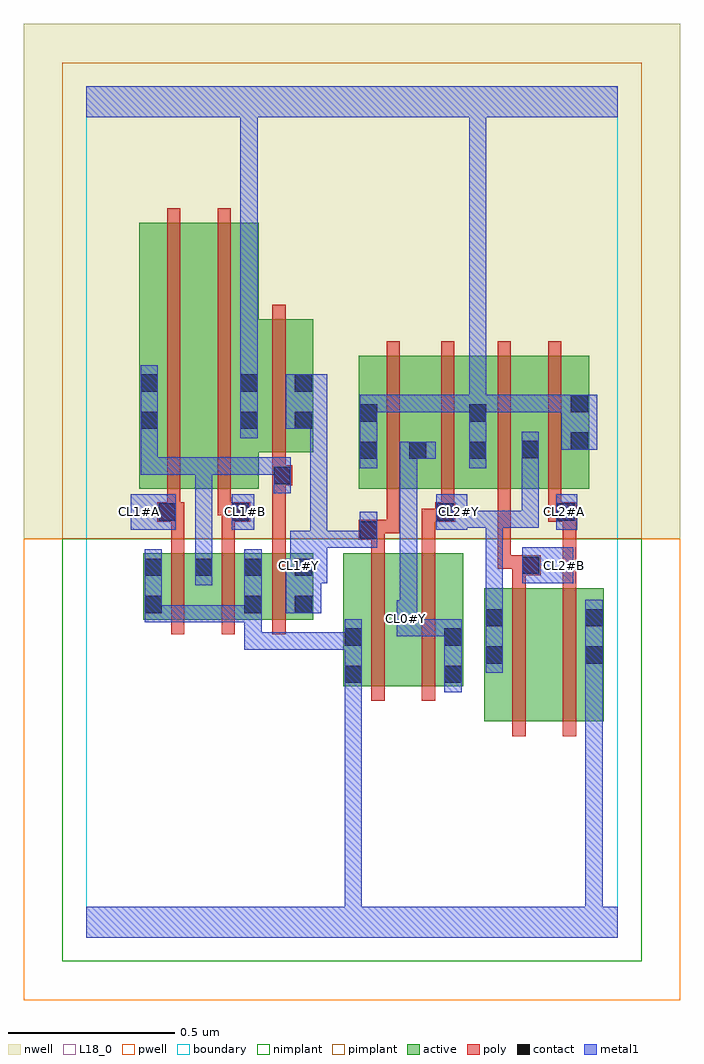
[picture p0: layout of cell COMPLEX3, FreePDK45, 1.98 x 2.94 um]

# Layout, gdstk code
import gdstk
lib = gdstk.Library(unit=1e-6, precision=1e-09)
def R(c, l, rs):  # rectangles x0, y0, x1, y1
    for r in rs: c.add(gdstk.rectangle(r[:2], r[2:], *l))
def A(c, l, x, y, w, h, nx, ny, dx, dy):  # array of equal rectangles
    R(c, l, [(x+i*dx, y+j*dy, x+i*dx+w, y+j*dy+h) for i in range(nx) for j in range(ny)])
active = (1, 0)
pwell = (2, 0)
nwell = (3, 0)
nimplant = (4, 0)
pimplant = (5, 0)
poly = (9, 0)
contact = (10, 0)
metal1 = (11, 0)
L18_0 = (18, 0)
boundary = (235, 0)

complex3 = lib.new_cell('COMPLEX3')
R(complex3, active, [(1.198,0.65,1.378,1.05), (1.378,0.65,1.558,1.05), (1.498,0.65,1.558,1.05), (0.774,0.756,0.834,1.156), (0.774,0.756,0.954,1.156), (0.954,0.756,1.134,1.156), (1.074,0.756,1.134,1.156), (1.198,0.756,1.258,1.05), (0.172,0.956,0.232,1.156), (0.172,0.956,0.384,1.156), (0.324,0.956,0.384,1.156), (0.324,0.956,0.532,1.156), (0.472,0.956,0.532,1.156), (0.472,0.956,0.684,1.156), (0.624,0.956,0.684,1.156), (0.16,1.35,0.34,2.15), (0.16,1.35,0.22,2.044), (0.34,1.35,0.52,2.15), (0.82,1.35,0.88,1.644), (0.82,1.35,1.028,1.75), (0.968,1.35,1.028,1.644), (0.968,1.35,1.208,1.75), (1.148,1.35,1.208,1.644), (1.148,1.35,1.366,1.75), (1.306,1.35,1.366,1.644), (1.306,1.35,1.514,1.75), (1.454,1.35,1.514,1.644), (0.46,1.46,0.52,1.698), (0.46,1.46,0.684,1.86), (0.624,1.46,0.684,1.698)])
R(complex3, pwell, [(-0.188,-0.188,1.788,1.2)])
R(complex3, nwell, [(-0.188,1.2,1.788,2.748)])
R(complex3, nimplant, [(-0.072,-0.072,1.672,1.2)])
R(complex3, pimplant, [(-0.072,1.2,1.672,2.632)])
A(complex3, poly, 0.256, 0.912, 0.04, 0.288, 3, 1, 0.152, 0)
R(complex3, poly, [(1.282,0.606,1.322,1.094), (1.434,0.606,1.474,1.094), (0.858,0.712,0.898,1.2), (1.01,0.712,1.05,1.2), (1.282,1.054,1.322,1.13), (1.434,1.054,1.474,1.29), (1.282,1.09,1.368,1.15), (1.238,1.11,1.278,1.346), (1.238,1.11,1.322,1.15), (1.282,1.11,1.322,1.15), (0.256,1.16,0.296,1.29), (0.408,1.16,0.448,1.29), (0.56,1.16,0.6,1.4), (0.858,1.16,0.898,1.236), (1.01,1.16,1.05,1.29), (0.82,1.196,0.898,1.256), (0.858,1.216,0.898,1.256), (0.858,1.216,0.944,1.256), (0.904,1.216,0.944,1.346), (0.214,1.25,0.296,1.31), (0.408,1.25,0.494,1.31), (1.01,1.25,1.09,1.29), (1.05,1.25,1.09,1.29), (1.05,1.25,1.11,1.31), (1.39,1.25,1.474,1.31), (1.434,1.25,1.474,1.29), (1.434,1.25,1.474,1.29), (0.244,1.27,0.284,1.346), (0.244,1.27,0.284,1.31), (0.244,1.27,0.284,1.31), (0.396,1.27,0.436,1.346), (0.396,1.27,0.448,1.31), (0.408,1.27,0.448,1.31), (1.068,1.27,1.108,1.346), (1.39,1.27,1.43,1.346), (0.244,1.306,0.284,2.194), (0.396,1.306,0.436,2.194), (0.904,1.306,0.944,1.794), (1.068,1.306,1.108,1.794), (1.238,1.306,1.278,1.794), (1.39,1.306,1.43,1.794), (0.56,1.36,0.6,1.4), (0.56,1.36,0.6,1.4), (0.56,1.36,0.62,1.42), (0.56,1.38,0.6,1.456), (0.56,1.416,0.6,1.904)])
R(complex3, contact, [(0.778,0.766,0.83,0.818), (1.078,0.766,1.13,0.818), (1.202,0.824,1.254,0.876), (1.502,0.824,1.554,0.876), (0.778,0.878,0.83,0.93), (1.078,0.878,1.13,0.93), (1.202,0.936,1.254,0.988), (1.502,0.936,1.554,0.988), (0.176,0.976,0.228,1.028), (0.476,0.976,0.528,1.028), (0.628,0.976,0.68,1.028), (0.176,1.088,0.228,1.14), (0.328,1.088,0.38,1.14), (0.476,1.088,0.528,1.14), (0.628,1.088,0.68,1.14), (1.312,1.094,1.364,1.146), (0.824,1.2,0.876,1.252), (0.218,1.254,0.27,1.306), (0.438,1.254,0.49,1.306), (1.054,1.254,1.106,1.306), (1.418,1.254,1.47,1.306), (0.564,1.364,0.616,1.416), (0.824,1.44,0.876,1.492), (0.972,1.44,1.024,1.492), (1.152,1.44,1.204,1.492), (1.31,1.442,1.362,1.494), (1.458,1.468,1.51,1.52), (0.164,1.53,0.216,1.582), (0.464,1.53,0.516,1.582), (0.628,1.53,0.68,1.582), (0.824,1.552,0.876,1.604), (1.152,1.552,1.204,1.604), (1.458,1.58,1.51,1.632), (0.164,1.642,0.216,1.694), (0.464,1.642,0.516,1.694), (0.628,1.642,0.68,1.694)])
R(complex3, metal1, [(0,0,1.6,0.092), (0.778,0.04,0.83,0.092), (0.778,0.04,0.83,0.092), (0.778,0.04,0.83,0.092), (0.778,0.04,0.83,0.092), (0.778,0.04,0.83,0.092), (0.778,0.04,0.83,0.092), (0.778,0.04,0.83,0.092), (0.778,0.04,0.83,0.092), (0.778,0.04,0.83,0.092), (0.778,0.04,0.83,0.092), (0.778,0.04,0.83,0.092), (0.778,0.04,0.83,0.092), (0.778,0.04,0.83,0.79), (1.502,0.04,1.554,0.092), (1.502,0.04,1.554,0.092), (1.502,0.04,1.554,0.092), (1.502,0.04,1.554,0.092), (1.502,0.04,1.554,0.092), (1.502,0.04,1.554,0.092), (1.502,0.04,1.554,0.092), (1.502,0.04,1.554,0.092), (1.502,0.04,1.554,0.092), (1.502,0.04,1.554,0.092), (1.502,0.04,1.554,0.092), (1.502,0.04,1.554,0.092), (1.502,0.04,1.554,0.848), (0.778,0.738,0.83,0.958), (1.078,0.738,1.13,0.958), (1.202,0.796,1.254,1.016), (1.502,0.796,1.554,1.016), (0.476,0.866,0.528,0.918), (0.476,0.866,0.528,0.918), (0.476,0.866,0.528,0.918), (0.476,0.866,0.638,0.918), (0.476,0.866,0.528,1), (0.586,0.866,0.638,0.918), (0.586,0.866,0.83,0.918), (0.934,0.906,0.996,1.014), (0.944,0.906,1.13,0.958), (1.078,0.906,1.13,0.958), (1.078,0.906,1.13,0.958), (1.078,0.906,1.13,0.958), (1.078,0.906,1.13,0.958), (0.176,0.948,0.228,1), (0.176,0.948,0.228,1), (0.176,0.948,0.228,1.168), (0.176,0.948,0.38,1), (0.328,0.948,0.38,1), (0.328,0.948,0.38,1), (0.328,0.948,0.38,1), (0.328,0.948,0.528,1), (0.476,0.948,0.528,1), (0.476,0.948,0.528,1), (0.476,0.948,0.528,1.168), (0.944,0.962,0.996,1.014), (0.944,0.962,0.996,1.014), (0.944,0.962,0.996,1.492), (1.202,0.964,1.254,1.016), (1.202,0.964,1.254,1.016), (1.202,0.964,1.254,1.284), (0.6,0.976,0.708,1.14), (0.328,1.06,0.38,1.168), (0.614,1.066,0.666,1.118), (0.614,1.066,0.726,1.224), (1.312,1.066,1.466,1.174), (0.328,1.116,0.38,1.168), (0.328,1.116,0.38,1.168), (0.328,1.116,0.38,1.444), (0.674,1.172,0.726,1.224), (0.674,1.172,0.726,1.224), (0.674,1.172,0.726,1.224), (0.674,1.172,0.726,1.224), (0.674,1.172,0.876,1.224), (0.674,1.172,0.726,1.582), (0.824,1.172,0.876,1.28), (0.134,1.226,0.27,1.334), (0.438,1.226,0.506,1.334), (1.054,1.226,1.146,1.334), (1.414,1.226,1.478,1.334), (1.094,1.232,1.146,1.284), (1.094,1.232,1.146,1.284), (1.094,1.232,1.254,1.284), (1.202,1.232,1.254,1.284), (1.202,1.232,1.356,1.284), (1.304,1.232,1.356,1.284), (1.304,1.232,1.362,1.284), (1.31,1.232,1.362,1.284), (1.31,1.232,1.362,1.466), (0.564,1.336,0.616,1.444), (0.164,1.392,0.216,1.444), (0.164,1.392,0.216,1.444), (0.164,1.392,0.216,1.444), (0.164,1.392,0.38,1.444), (0.164,1.392,0.216,1.554), (0.328,1.392,0.38,1.444), (0.328,1.392,0.38,1.444), (0.328,1.392,0.38,1.444), (0.328,1.392,0.49,1.444), (0.438,1.392,0.49,1.444), (0.438,1.392,0.616,1.444), (0.824,1.412,0.876,1.632), (1.152,1.412,1.204,1.632), (1.31,1.414,1.362,1.522), (0.944,1.44,1.052,1.492), (1.43,1.468,1.538,1.632), (0.164,1.502,0.216,1.722), (0.464,1.502,0.516,1.722), (0.6,1.53,0.726,1.694), (0.824,1.58,0.876,1.632), (0.824,1.58,0.876,1.632), (0.824,1.58,1.02,1.632), (0.968,1.58,1.02,1.632), (0.968,1.58,1.02,1.632), (0.968,1.58,1.02,1.632), (0.968,1.58,1.204,1.632), (1.152,1.58,1.204,1.632), (1.152,1.58,1.204,1.632), (1.152,1.58,1.204,1.632), (1.152,1.58,1.204,1.632), (1.152,1.58,1.204,1.632), (1.152,1.58,1.204,1.632), (1.152,1.58,1.204,1.632), (1.152,1.58,1.204,1.632), (1.152,1.58,1.254,1.632), (1.152,1.58,1.204,2.52), (1.202,1.58,1.254,1.632), (1.202,1.58,1.356,1.632), (1.304,1.58,1.356,1.632), (1.304,1.58,1.372,1.632), (1.32,1.58,1.372,1.632), (1.32,1.58,1.482,1.632), (1.43,1.58,1.482,1.632), (1.43,1.58,1.482,1.632), (0.464,1.67,0.516,1.722), (0.464,1.67,0.516,1.722), (0.464,1.67,0.516,1.722), (0.464,1.67,0.516,1.722), (0.464,1.67,0.516,2.52), (0,2.468,1.6,2.56), (0.464,2.468,0.516,2.52), (0.464,2.468,0.516,2.52), (0.464,2.468,0.516,2.52), (0.464,2.468,0.516,2.52), (1.152,2.468,1.204,2.52), (1.152,2.468,1.204,2.52), (1.152,2.468,1.204,2.52), (1.152,2.468,1.204,2.52), (1.152,2.468,1.204,2.52), (1.152,2.468,1.204,2.52), (1.152,2.468,1.204,2.52), (1.152,2.468,1.204,2.52)])
R(complex3, L18_0, [(0,0,1.6,0.092), (0.778,0.04,0.83,0.092), (0.778,0.04,0.83,0.092), (0.778,0.04,0.83,0.092), (0.778,0.04,0.83,0.092), (0.778,0.04,0.83,0.092), (0.778,0.04,0.83,0.092), (0.778,0.04,0.83,0.092), (0.778,0.04,0.83,0.092), (0.778,0.04,0.83,0.092), (0.778,0.04,0.83,0.092), (0.778,0.04,0.83,0.092), (0.778,0.04,0.83,0.092), (0.778,0.04,0.83,0.79), (1.502,0.04,1.554,0.092), (1.502,0.04,1.554,0.092), (1.502,0.04,1.554,0.092), (1.502,0.04,1.554,0.092), (1.502,0.04,1.554,0.092), (1.502,0.04,1.554,0.092), (1.502,0.04,1.554,0.092), (1.502,0.04,1.554,0.092), (1.502,0.04,1.554,0.092), (1.502,0.04,1.554,0.092), (1.502,0.04,1.554,0.092), (1.502,0.04,1.554,0.092), (1.502,0.04,1.554,0.848), (0.778,0.738,0.83,0.958), (1.078,0.738,1.13,0.958), (1.202,0.796,1.254,1.016), (1.502,0.796,1.554,1.016), (0.476,0.866,0.528,0.918), (0.476,0.866,0.528,0.918), (0.476,0.866,0.528,0.918), (0.476,0.866,0.528,1), (0.476,0.866,0.638,0.918), (0.586,0.866,0.638,0.918), (0.586,0.866,0.83,0.918), (0.934,0.906,0.996,1.014), (0.944,0.906,1.13,0.958), (1.078,0.906,1.13,0.958), (1.078,0.906,1.13,0.958), (1.078,0.906,1.13,0.958), (1.078,0.906,1.13,0.958), (0.934,0.934,0.986,0.986), (0.176,0.948,0.228,1.168), (0.176,0.948,0.228,1), (0.176,0.948,0.228,1), (0.176,0.948,0.38,1), (0.328,0.948,0.38,1), (0.328,0.948,0.38,1), (0.328,0.948,0.38,1), (0.328,0.948,0.528,1), (0.476,0.948,0.528,1.168), (0.476,0.948,0.528,1), (0.476,0.948,0.528,1), (0.944,0.962,0.996,1.014), (0.944,0.962,0.996,1.014), (0.944,0.962,0.996,1.492), (1.202,0.964,1.254,1.016), (1.202,0.964,1.254,1.016), (1.202,0.964,1.254,1.284), (0.6,0.976,0.708,1.14), (0.614,1.066,0.666,1.118), (0.614,1.066,0.726,1.224), (1.312,1.066,1.466,1.174), (0.614,1.094,0.666,1.146), (1.414,1.094,1.466,1.146), (0.674,1.172,0.726,1.224), (0.674,1.172,0.726,1.224), (0.674,1.172,0.726,1.224), (0.674,1.172,0.726,1.224), (0.674,1.172,0.726,1.582), (0.674,1.172,0.876,1.224), (0.824,1.172,0.876,1.28), (0.134,1.226,0.27,1.334), (0.438,1.226,0.506,1.334), (1.054,1.226,1.146,1.334), (1.414,1.226,1.478,1.334), (1.094,1.232,1.146,1.284), (1.094,1.232,1.146,1.284), (1.094,1.232,1.254,1.284), (1.202,1.232,1.254,1.284), (1.202,1.232,1.356,1.284), (1.304,1.232,1.356,1.284), (1.304,1.232,1.362,1.284), (1.31,1.232,1.362,1.284), (1.31,1.232,1.362,1.466), (0.134,1.254,0.186,1.306), (0.454,1.254,0.506,1.306), (1.094,1.254,1.146,1.306), (1.414,1.254,1.466,1.306), (0.824,1.412,0.876,1.632), (1.152,1.412,1.204,1.632), (1.31,1.414,1.362,1.522), (0.944,1.44,1.052,1.492), (1.43,1.468,1.538,1.632), (0.464,1.502,0.516,1.722), (0.6,1.53,0.726,1.694), (0.824,1.58,0.876,1.632), (0.824,1.58,0.876,1.632), (0.824,1.58,1.02,1.632), (0.968,1.58,1.02,1.632), (0.968,1.58,1.02,1.632), (0.968,1.58,1.02,1.632), (0.968,1.58,1.204,1.632), (1.152,1.58,1.204,1.632), (1.152,1.58,1.204,1.632), (1.152,1.58,1.204,1.632), (1.152,1.58,1.204,1.632), (1.152,1.58,1.204,1.632), (1.152,1.58,1.204,1.632), (1.152,1.58,1.204,1.632), (1.152,1.58,1.204,1.632), (1.152,1.58,1.204,2.52), (1.152,1.58,1.254,1.632), (1.202,1.58,1.254,1.632), (1.202,1.58,1.356,1.632), (1.304,1.58,1.356,1.632), (1.304,1.58,1.372,1.632), (1.32,1.58,1.372,1.632), (1.32,1.58,1.482,1.632), (1.43,1.58,1.482,1.632), (1.43,1.58,1.482,1.632), (0.464,1.67,0.516,1.722), (0.464,1.67,0.516,1.722), (0.464,1.67,0.516,1.722), (0.464,1.67,0.516,1.722), (0.464,1.67,0.516,2.52), (0,2.468,1.6,2.56), (0.464,2.468,0.516,2.52), (0.464,2.468,0.516,2.52), (0.464,2.468,0.516,2.52), (0.464,2.468,0.516,2.52), (1.152,2.468,1.204,2.52), (1.152,2.468,1.204,2.52), (1.152,2.468,1.204,2.52), (1.152,2.468,1.204,2.52), (1.152,2.468,1.204,2.52), (1.152,2.468,1.204,2.52), (1.152,2.468,1.204,2.52), (1.152,2.468,1.204,2.52)])
R(complex3, boundary, [(0,0,1.6,2.56)])
complex3.add(gdstk.Label('CL0#Y', (0.96,0.96), layer=11, texttype=0))
complex3.add(gdstk.Label('CL1#A', (0.16,1.28), layer=11, texttype=0))
complex3.add(gdstk.Label('CL1#B', (0.48,1.28), layer=11, texttype=0))
complex3.add(gdstk.Label('CL1#Y', (0.64,1.12), layer=11, texttype=0))
complex3.add(gdstk.Label('CL2#A', (1.44,1.28), layer=11, texttype=0))
complex3.add(gdstk.Label('CL2#B', (1.44,1.12), layer=11, texttype=0))
complex3.add(gdstk.Label('CL2#Y', (1.12,1.28), layer=11, texttype=0))

lib.write_gds('COMPLEX3.gds')
